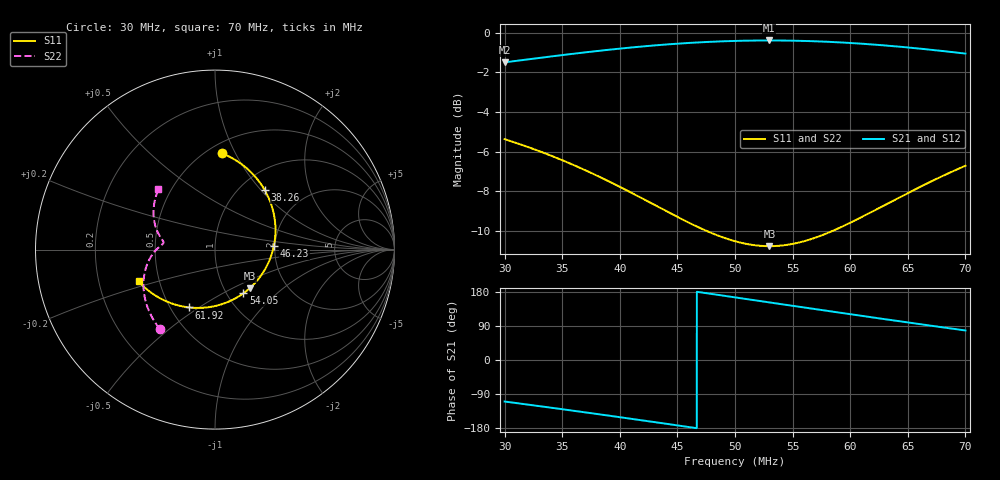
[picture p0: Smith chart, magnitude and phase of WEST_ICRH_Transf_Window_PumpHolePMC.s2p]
! Touchstone file exported from HFSS 2020.2.0
!  File:  C:/Users/JH218595/Documents/ICRH/WEST/HFSS_antenna_elements/Bridge_ImpTrasnf_Stub.aedt
!  Generated:  4:42:14  ao%xFBt 02, 2020
!  Design:  Transf_Window_PumpHolePMC
!  Project:  Bridge_ImpTrasnf_Stub
!  Setup:  Setup1
!  Solution:  Sweep_operationnal
!Data is not renormalized
# GHZ S MA
! Terminal data exported
! Port[1] = 1
! Port[2] = 2
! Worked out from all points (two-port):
!   4001 points, 30 MHz to 70 MHz, reference per port
!   highest |S21| = -0.40 dB at 52.98 MHz (marker M1); lowest = -1.5 dB at 30 MHz (marker M2)
!   |S21| within 3 dB of the highest: start of sweep to end of sweep
!   lowest |S11| = -10.8 dB at 52.99 MHz (marker M3), VSWR 1.81
!   |S11| at or under -10 dB: 47.51 MHz to 58.49 MHz (10.99 MHz wide, 20.7 % of centre)
!   |S22| runs from -10.8 to -5.4 dB; largest |S21 - S12| = 1.7e-14
!   S11 on the Smith chart (normalised r, x): 30 MHz: 0.58, +0.88; 38.26 MHz: 1.28, +1.05; 46.23 MHz: 1.97, +0.09; 54.05 MHz: 1.19, -0.63; 61.92 MHz: 0.62, -0.45; 70 MHz: 0.38, -0.17
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0.03  0.5385 86.1  0.8412 -109.5  0.8412 -109.5  0.5378 -125.0
! Gamma 8.93703789339272E-05 0.628842906893459 0.000586272508822984 0.629340426770969
! Port Impedance 29.8958370150267 -0.00408505198309862 5.30006944587556 -0.00486328387641822
0.03163  0.5193 79.7  0.8531 -116.1  0.8531 -116.1  0.5187 -131.7
0.03333  0.4983 72.6  0.8656 -123.0  0.8656 -123.0  0.4977 -138.5
0.03667  0.4542 57.8  0.8893 -136.8  0.8893 -136.8  0.4537 -151.3
0.03826  0.4324 50.2  0.9001 -143.5  0.9001 -143.5  0.4319 -157.0
0.0409  0.3959 36.4  0.9166 -154.7  0.9166 -154.7  0.3956 -165.8
0.04334  0.3633 22.4  0.9299 -165.3  0.9299 -165.3  0.3631 -172.9
0.04623  0.329 3.7  0.9426 -178.0  0.9426 -178.0  0.3289 -179.5
0.04812  0.3108 -9.8  0.9487 173.7  0.9487 173.7  0.3109 177.3
0.05  0.2976 -24.2  0.9528 165.3  0.9528 165.3  0.2977 174.9
0.05148  0.2914 -36.0  0.9547 158.7  0.9547 158.7  0.2915 173.5
0.05298  0.2892 -48.2  0.9554 152.0  0.9554 152.0  0.2894 172.3
0.05299  0.2892 -48.3  0.9554 152.0  0.9554 152.0  0.2894 172.3
0.05405  0.2903 -56.9  0.955 147.3  0.955 147.3  0.2904 171.5
0.05667  0.3018 -77.7  0.9515 135.6  0.9515 135.6  0.3018 168.9
0.05934  0.3244 -97.3  0.944 123.8  0.944 123.8  0.3243 164.8
0.06192  0.3536 -114.4  0.9335 112.4  0.9335 112.4  0.3534 159.2
0.06334  0.3716 -123.0  0.9265 106.3  0.9265 106.3  0.3713 155.5
0.06494  0.3929 -132.1  0.9177 99.3  0.9177 99.3  0.3925 150.7
0.06657  0.415 -140.8  0.9079 92.4  0.9079 92.4  0.4145 145.4
0.0682  0.4372 -148.9  0.8974 85.5  0.8974 85.5  0.4366 139.8
0.07  0.4614 -157.4  0.8853 77.9  0.8853 77.9  0.4607 133.2
